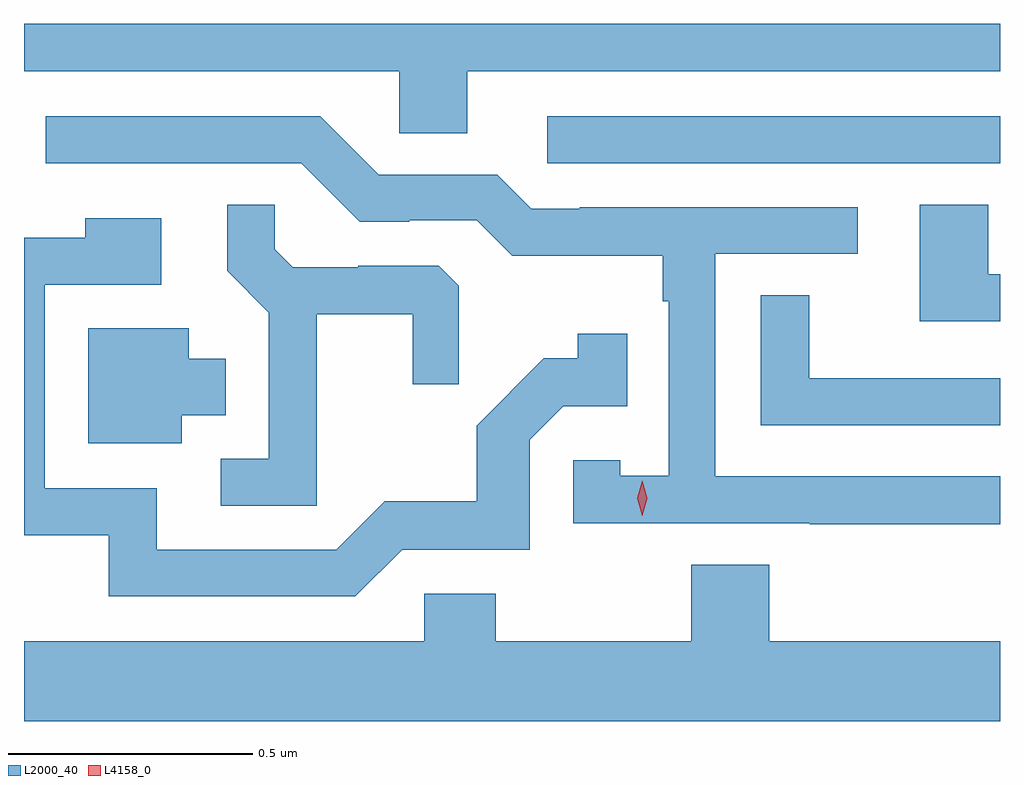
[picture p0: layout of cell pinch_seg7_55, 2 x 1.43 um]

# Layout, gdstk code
import gdstk
lib = gdstk.Library(unit=1e-6, precision=1e-09)
def R(c, l, rs):  # rectangles x0, y0, x1, y1
    for r in rs: c.add(gdstk.rectangle(r[:2], r[2:], *l))
def P(c, l, *ps):  # polygons
    for p in ps: c.add(gdstk.Polygon(p, *l))
L2000_40 = (2000, 40)
L4158_0 = (4158, 0)

pinch_seg7_55 = lib.new_cell('pinch_seg7_55')
R(pinch_seg7_55, L2000_40, [(899.523,1076.352,900.451,1076.448)])
P(pinch_seg7_55, L2000_40, [(899.359,1076.54),(900.451,1076.54),(900.451,1076.638),(898.451,1076.638),(898.451,1076.54),(899.22,1076.54),(899.22,1076.413),(899.359,1076.413)],
  [(900.451,1075.71),(899.868,1075.71),(899.868,1076.166),(900.16,1076.166),(900.16,1076.262),(899.59,1076.262),(899.59,1076.259),(899.49,1076.259),(899.421,1076.328),(899.178,1076.328),(899.058,1076.448),(898.496,1076.448),(898.496,1076.352),(899.019,1076.352),(899.139,1076.232),(899.24,1076.232),(899.24,1076.235),(899.379,1076.235),(899.452,1076.162),(899.76,1076.162),(899.76,1076.069),(899.772,1076.069),(899.772,1075.711),(899.673,1075.711),(899.673,1075.743),(899.577,1075.743),(899.577,1075.614),(900.061,1075.614),(900.061,1075.612),(900.451,1075.612)],
  [(900.451,1076.124),(900.427,1076.124),(900.427,1076.267),(900.287,1076.267),(900.287,1076.028),(900.451,1076.028)],
  [(899.051,1076.042),(899.248,1076.042),(899.248,1075.899),(899.342,1075.899),(899.342,1076.101),(899.301,1076.142),(899.136,1076.142),(899.136,1076.139),(899.002,1076.139),(898.965,1076.176),(898.965,1076.267),(898.867,1076.267),(898.867,1076.131),(898.953,1076.045),(898.953,1075.746),(898.854,1075.746),(898.854,1075.65),(899.051,1075.65)],
  [(899.226,1075.56),(899.487,1075.56),(899.487,1075.785),(899.556,1075.854),(899.687,1075.854),(899.687,1076.002),(899.586,1076.002),(899.586,1075.952),(899.516,1075.952),(899.379,1075.814),(899.379,1075.659),(899.19,1075.659),(899.091,1075.56),(898.723,1075.56),(898.723,1075.686),(898.494,1075.686),(898.494,1076.103),(898.732,1076.103),(898.732,1076.239),(898.576,1076.239),(898.576,1076.199),(898.451,1076.199),(898.451,1075.59),(898.625,1075.59),(898.625,1075.464),(899.13,1075.464)],
  [(900.451,1075.911),(900.06,1075.911),(900.06,1076.081),(899.961,1076.081),(899.961,1075.815),(900.451,1075.815)],
  [(898.774,1075.835),(898.864,1075.835),(898.864,1075.951),(898.789,1075.951),(898.789,1076.014),(898.583,1076.014),(898.583,1075.778),(898.774,1075.778)],
  [(900.451,1075.372),(899.978,1075.372),(899.978,1075.529),(899.818,1075.529),(899.818,1075.372),(899.418,1075.372),(899.418,1075.47),(899.271,1075.47),(899.271,1075.372),(898.451,1075.372),(898.451,1075.208),(900.451,1075.208)])
P(pinch_seg7_55, L4158_0, [(899.718,1075.629),(899.718,1075.629),(899.708,1075.665),(899.718,1075.701),(899.718,1075.701),(899.718,1075.701),(899.728,1075.665),(899.718,1075.629)])

lib.write_gds('pinch_seg7_55.gds')
